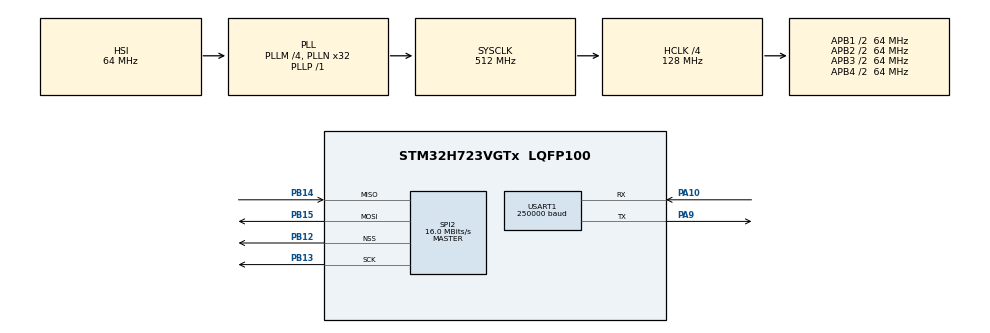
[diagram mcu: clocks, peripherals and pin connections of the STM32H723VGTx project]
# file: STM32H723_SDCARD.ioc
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CORTEX_M7.default_mode_Activation=1
Mcu.Family=STM32H7
Mcu.Name=STM32H723VGTx
Mcu.Package=LQFP100
NVIC.PriorityGroup=NVIC_PRIORITYGROUP_4
PA10.Mode=Asynchronous
PA10.Signal=USART1_RX
PA9.Mode=Asynchronous
PA9.Signal=USART1_TX
PB12.GPIO_Speed=GPIO_SPEED_FREQ_LOW
PB12.Mode=NSS_Signal_Hard_Output
PB12.Signal=SPI2_NSS
PB13.GPIO_Mode=GPIO_MODE_AF_PP
PB13.GPIO_PuPd=GPIO_NOPULL
PB13.GPIO_Speed=GPIO_SPEED_FREQ_LOW
PB13.Mode=Full_Duplex_Master
PB13.Signal=SPI2_SCK
PB14.GPIO_Mode=GPIO_MODE_AF_PP
PB14.GPIO_PuPd=GPIO_NOPULL
PB14.GPIO_Speed=GPIO_SPEED_FREQ_LOW
PB14.Mode=Full_Duplex_Master
PB14.Signal=SPI2_MISO
PB15.GPIO_Mode=GPIO_MODE_AF_PP
PB15.GPIO_PuPd=GPIO_NOPULL
PB15.GPIO_Speed=GPIO_SPEED_FREQ_LOW
PB15.Mode=Full_Duplex_Master
PB15.Signal=SPI2_MOSI
ProjectManager.HeapSize=0x200
ProjectManager.StackSize=0x400
ProjectManager.TargetToolchain=STM32CubeIDE
RCC.ADCFreq_Value=129000000
RCC.APB1Freq_Value=64000000
RCC.APB2Freq_Value=64000000
RCC.APB3Freq_Value=64000000
RCC.APB4Freq_Value=64000000
RCC.CortexFreq_Value=512000000
RCC.D1PPRE=RCC_APB3_DIV2
RCC.D2PPRE1=RCC_APB1_DIV2
RCC.D2PPRE2=RCC_APB2_DIV2
RCC.D3PPRE=RCC_APB4_DIV2
RCC.DIVM1=4
RCC.DIVN1=32
RCC.DIVP1=1
RCC.DIVQ1=3
RCC.HCLKFreq_Value=128000000
RCC.HPRE=RCC_HCLK_DIV4
RCC.PLL2FRACN=0
RCC.PLL3FRACN=0
RCC.PLLFRACN=0
RCC.SPI123CLockSelection=RCC_SPI123CLKSOURCE_CLKP
RCC.SYSCLKFreq_VALUE=512000000
RCC.SYSCLKSource=RCC_SYSCLKSOURCE_PLLCLK
RCC.USBFreq_Value=170666666.66666666
SPI2.BaudRatePrescaler=SPI_BAUDRATEPRESCALER_4
SPI2.CalculateBaudRate=16.0 MBits/s
SPI2.DataSize=SPI_DATASIZE_8BIT
SPI2.Direction=SPI_DIRECTION_2LINES
SPI2.Mode=SPI_MODE_MASTER
SPI2.VirtualNSS=VM_NSSHARD
SPI2.VirtualType=VM_MASTER
USART1.BaudRate=250000
USART1.VirtualMode-Asynchronous=VM_ASYNC
VP_FATFS_VS_Generic.Mode=User_defined
VP_MEMORYMAP_VS_MEMORYMAP.Mode=CurAppReg
board=custom

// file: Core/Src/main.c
/* USER CODE BEGIN Header */
/**
  ******************************************************************************
  * @file           : main.c
  * @brief          : Main program body
  ******************************************************************************
  * @attention
  *
  * Copyright (c) 2026 STMicroelectronics.
  * All rights reserved.
  *
  * This software is licensed under terms that can be found in the LICENSE file
  * in the root directory of this software component.
  * If no LICENSE file comes with this software, it is provided AS-IS.
  *
  ******************************************************************************
  */

/*******************************************************************************************************
* IRON 2026 smart SD card bootloader for Mellow Fly D8 Pro V1.1 3D printer motherboard (STM32H723VGT6) *
********************************************************************************************************
* SD card interfacing based on Simplified Spec Physical Layer V9.10 (December 1st 2023)                *
*******************************************************************************************************/

/* USER CODE END Header */
#include "main.h"
#include "fatfs.h"

/* USER CODE BEGIN Includes */

#include <stdarg.h> // For uart_printf
#include <string.h> // For memset

/* USER CODE END Includes */

/* USER CODE BEGIN PD */

#define DEBUG_USART_HANDLE       huart1                                 // The UART to send debug info to
#define VERBOSE_MODE                                                    // Comment out to disable sending info to USART (250K baud)
#define COMPARE_BEFORE_FLASH                                            // Comment out to not compare the firmware file to the flash contents (faster)
#define FIRMWARE_FILENAME        "firmware.bin"                         // The firmware file to flash
#define FIRMWARE_RENAME          "firmware.cur"                         // Rename the firmware after flashing

// Make sure pins don't interfere with SWD debug pins PA13 and PA14, disable when debugging
#define PROGRESS_LED_PIN         GPIO_PIN_14                            // Progress LED pin, flashes during flash update
#define PROGRESS_LED_PORT        GPIOA                                  // Progress LED port

#define SD_DETECT_PIN            GPIO_PIN_13                            // SD card detect pin, pin PE13
#define SD_DETECT_PORT           GPIOE                                  // SD card detect port, pin PE13
#define SD_INIT_DELAY            350U                                   // Delay to allow the SD card to settle

#define DFU_ON_DOUBLE_RESET                                             // Double reset start DFU mode, comment out to disable
#define DFU_MAGIC_KEY            0xBA5EBA11                             // Magic key to jump to DFU mode
#define DFU_MAGIC_KEY_ADDRESS    RTC->BKP31R                            // Store the magic key at RTC backup register 31

#define FLASHWORD                (FLASH_NB_32BITWORD_IN_FLASHWORD * 4U) // 32 bytes on STM32H7
#define FILE_BUFFER_SIZE         4096UL                                 // Must be divisible by FLASHWORD
#define FLASH_MAX_SECTOR         8U                                     // Max 8 sectors on STM32H7xx (0-7) 128KB each

#define FLASH_BOOTLOADER_SIZE    0x00020000U                            // Bootloader area size (1 sector)
#define FLASH_USER_START_SECTOR  1U                                     // Bootloader in sector 0
#define FLASH_USER_START_ADDR    (FLASH_BASE + FLASH_BOOTLOADER_SIZE)   // Should start on a new sector

/* STM32 DFU bootloader addresses
   STM32C0   0x1FFF0000 | STM32F030x8 0x1FFFEC00 | STM32F030xC 0x1FFFD800 | STM32F03xx 0x1FFFEC00
   STM32F05  0x1FFFEC00 | STM32F07    0x1FFFC800 | STM32F09    0x1FFFD800 | STM32F10xx 0x1FFFF000
   STM32F105 0x1FFFB000 | STM32F107   0x1FFFB000 | STM32F10XL  0x1FFFE000 | STM32F2    0x1FFF0000
   STM32F3   0x1FFFD800 | STM32F4     0x1FFF0000 | STM32F7     0x1FF00000 | STM32G0    0x1FFF0000
   STM32G4   0x1FFF0000 | STM32H503   0x0BF87000 | STM32H563   0x0BF97000 | STM32H573  0x0BF97000
   STM32H7x  0x1FF09800 | STM32H7A    0x1FF0A800 | STM32H7B    0x1FF0A000 | STM32L0    0x1FF00000
   STM32L1   0x1FF00000 | STM32L4     0x1FFF0000 | STM32L5     0x0BF90000 | STM32WBA   0x0BF88000
   STM32WBX  0x1FFF0000 | STM32WL     0x1FFF0000 | STM32U5     0x0BF90000 */

#define DFU_BOOTLOADER_ADDRESS   0x1FF09800U // STM32H7xx address to start the DFU bootloader

/* FATFS ERROR CODES
 0 Succeeded
 1 A hard error occurred in the low level disk I/O layer
 2 Assertion failed
 3 The physical drive cannot work
 4 Could not find the file
 5 Could not find the path
 6 The path name format is invalid
 7 Access denied due to prohibited access or directory full
 8 Access denied due to prohibited access
 9 The file/directory object is invalid
10 The physical drive is write protected
11 The logical drive number is invalid
12 The volume has no work area
13 There is no valid FAT volume
14 The f_mkfs() aborted due to any problem
15 Could not get a grant to access the volume within defined period
16 The operation is rejected according to the file sharing policy
17 LFN working buffer could not be allocated
18 Number of open files > _FS_LOCK
19 Given parameter is invalid */

/* USER CODE END PD */

SPI_HandleTypeDef hspi2;

UART_HandleTypeDef huart1;

/* USER CODE BEGIN PV */

FATFS    FatFs;                        // FAT File System handle
FIL      fwFile;                       // File handle for the firmware file
FRESULT  result;                       // File operation result
uint32_t fileSize;                     // Firmware file size in bytes
uint8_t  fileBuffer[FILE_BUFFER_SIZE] __attribute__((aligned(32))); // File read buffer

/* USER CODE END PV */

void SystemClock_Config(void);
void PeriphCommonClock_Config(void);
static void MPU_Config(void);
static void MX_GPIO_Init(void);
static void MX_SPI2_Init(void);
static void MX_USART1_UART_Init(void);

/* USER CODE BEGIN 0 */

// Calculate CRC32 of a block of data
#define CRC32_START 0xFFFFFFFF  // Start value for the CRC32 calculation
uint32_t crc32b(uint32_t crc, uint8_t *data, uint32_t size)
{
    for (int i = 0; i < size; i++)
    {
        crc = crc ^ data[i];
        for (int j = 8; j; j--)
            crc = (crc >> 1) ^ (0xEDB88320 & -(crc & 1));
    }
    return ~crc;
}

#ifdef VERBOSE_MODE // No serial output if not in VERBOSE_MODE

    // Lightweight printf, prints to uart (DEBUG_USART_HANDLE), no floats
    void uart_printf(const char * fmt, ...)
    {
        va_list va;
        va_start(va, fmt);
        char debug_msg[255]; // Message buffer
        char * buf = debug_msg;
        char c;
        unsigned int num;
        while ((c = *(fmt++)))
        {
            if (c == '%')
            {
                int width = 0;
                int base = 2;
                int s_int = 0;
                char space_zero = ' ';
            MORE_FORMAT:
                c = *(fmt++); // Skip '%', check parameter
                switch (c)
                {
                    case '0':
                      if (width == 0)
                          space_zero = '0';
                    case '1'...'9': // Width indicators
                        width = (width * 10) + c - '0';
                    goto MORE_FORMAT;

                    case '%': // "%%" prints "%"
                        *(buf++) = '%';
                    break;

                    case 'c': // Character
                        *(buf++) = va_arg(va, int);
                    break;

                    case 'd': // Signed integer, base 10
                    case 'i': base = 10;
                        s_int = va_arg(va, int);
                        if (s_int < 0)
                               num = -s_int;
                        else
                              num = s_int;
                        goto ATOI;
                    case 'x':
                    case 'X':      // Hexadecimal, base 16
                        base += 6; // 2 + 6 + 8 is base 16
                    case 'u':      // Unsigned integer, base 10
                        base += 8; // 2 + 8 is base 10
                    case 'b':      // Binary, base 2
                        num = va_arg(va, unsigned int);
                    ATOI:
                        char tmp[32]; // 32bit
                        char *q = tmp;

                        do
                        {
                            int rem = '0' + (num % base);
                            if (rem > '9')
                                  rem += 7; // Map to 'ABCDEF'
                               *(q++) = rem;
                        } while ((num /= base));

                        if (s_int < 0)
                              *(q++) = '-';

                        width -= q - tmp;
                        while (width-- > 0)
                              *(buf++) = space_zero;

                           while (tmp < q) // Reverse data order, "123" --> "321"
                           *(buf++) = *(--q);
                    break;

                    case 's':  // String
                    {
                        const char *p = va_arg(va, const char *);
                        while (*p)
                            *(buf++) = *(p++);
                    }
                }
            }
            else
                *(buf++) = c; // Copy literal characters
        }
        *buf = '\0'; // Terminate string

        va_end(va);

        HAL_UART_Transmit(&DEBUG_USART_HANDLE, (uint8_t *)debug_msg, buf - debug_msg, HAL_MAX_DELAY);

        #ifdef PROGRESS_LED_PIN
            HAL_GPIO_TogglePin(PROGRESS_LED_PORT, PROGRESS_LED_PIN); // Flash LED
        #endif

    }

#else

    #ifdef PROGRESS_LED_PIN
        void uart_printf(const char * fmt, ...) { HAL_GPIO_TogglePin(PROGRESS_LED_PORT, PROGRESS_LED_PIN); } // Flash LED
    #else
        void uart_printf(const char * fmt, ...) { }
    #endif

#endif

#ifdef DFU_ON_DOUBLE_RESET

    #define set_magic_key(a) *(__IO uint32_t *)DFU_MAGIC_KEY_ADDRESS = a; \
                             *(__IO uint32_t *)DFU_MAGIC_KEY_ADDRESS = a

#else

    #define set_magic_key(a)

#endif

// Return value: 0=equal, 1=different, 2=error
uint32_t compareFlashToFile(void)
{
    uint32_t i = 0, j;
    uint32_t file_crc32 = ~CRC32_START; // Invert here, will be undone in crc32b
    int difference_found = 0;
    int different = 0;
    unsigned int bytesRead;
    int result = f_lseek(&fwFile, 0); // Not strictly needed
    while ((i < fileSize) && !result)
    {
        result = f_read(&fwFile, fileBuffer, FILE_BUFFER_SIZE, &bytesRead);
        file_crc32 = crc32b(~file_crc32, fileBuffer, bytesRead);
        j = 0;
        while ((j < bytesRead) && !result)
        {
            if (*(__IO char*)(FLASH_USER_START_ADDR + i + j) != fileBuffer[j])
                difference_found = 1;
            j++;
        }

        if (difference_found)
        {
            uart_printf("*");
            different = 1;
            difference_found = 0; // Reset block different status
        }
        else
            uart_printf("=");

        i += bytesRead;
    }

    if (result)
    {
        uart_printf(" Error\r\nFile read error: %d\r\n", result);
        return 2;
    }
    else
    if (different)
        uart_printf(" Different\r\nFlash contents differs, update is required\r\n");
    else
    {
        uart_printf(" Equal\r\nFlash contents is the same, update is not required\r\n");
        uart_printf("Flash CRC32: 0x%x\r\n", file_crc32);
    }

    return different; // 0=equal, 1=different, 2=file read error
}

int CopyFileToFlashMemory(void)
{

// STM32H7xx FLASH SECTORS 0-7 all are 128 KBytes (FLASH_SECTOR_SIZE)

    // Erase required sectors to fit the user application
    uint32_t erasedSize = 0;
    uint32_t sector = FLASH_USER_START_SECTOR;

    HAL_FLASH_Unlock();
    FRESULT result = f_lseek(&fwFile, 0);
    while ((erasedSize < fileSize) && !result)
    {
        uart_printf("Erasing 128KB flash sector %u\r\n", sector);

        FLASH_Erase_Sector(sector, FLASH_BANK_1, FLASH_VOLTAGE_RANGE_3);

        erasedSize += FLASH_SECTOR_SIZE;
        sector++;
    }

    uart_printf("Flashing user application to 0x0%x\r\n", FLASH_USER_START_ADDR);

    uint32_t byteCounter = 0;
    uint32_t i;
    uint32_t file_crc32 = ~CRC32_START; // Invert here, will be undone in crc32b
    unsigned int bytesRead;

    while ((byteCounter < fileSize) && !result)
    {
        result = f_read(&fwFile, fileBuffer, FILE_BUFFER_SIZE, &bytesRead);
        file_crc32 = crc32b(~file_crc32, fileBuffer, bytesRead);

        if (bytesRead < FILE_BUFFER_SIZE) // Add some "erased flash" bytes to the buffer
            memset(fileBuffer + bytesRead, 0xFF, (FILE_BUFFER_SIZE - bytesRead) % FLASHWORD);

        // Write the data to flash memory
        i = 0;
        while ((i < bytesRead) && !result)
        {
            result = HAL_FLASH_Program(FLASH_TYPEPROGRAM_FLASHWORD, FLASH_USER_START_ADDR + byteCounter + i, (uint32_t)(fileBuffer + i));
            i += FLASHWORD;
        }
        byteCounter += bytesRead;
        uart_printf("=");
    }

    HAL_FLASH_Lock();

    if (!result) // All went OK, verify flash contents
    {
        uint32_t flash_crc32 = crc32b(CRC32_START, (uint8_t*)FLASH_USER_START_ADDR, fileSize);

        if (file_crc32 != flash_crc32)
        {
            uart_printf("* Verify failed\r\n");
            result = 1; // Signal error
        }
        else
            uart_printf(" Verify OK\r\n");

        uart_printf("Flash CRC32: 0x%x\r\n", flash_crc32);
    }
    else
        uart_printf(" Failed: %u\r\n", result);

    return result;
}

/* USER CODE END 0 */

int main(void)
{

  /* MPU Configuration--------------------------------------------------------*/
  MPU_Config();

  /* MCU Configuration--------------------------------------------------------*/

  /* Reset of all peripherals, Initializes the Flash interface and the Systick. */
  HAL_Init();

  /* USER CODE BEGIN Init */

#ifdef DFU_ON_DOUBLE_RESET

    // Initial delay used to debounce reset switch
    HAL_Delay(25);

    // Detect magic key
    if (*(__IO uint32_t*)DFU_MAGIC_KEY_ADDRESS == DFU_MAGIC_KEY)
    {
        set_magic_key(0);
        MX_GPIO_Init();
        MX_USART1_UART_Init();
        uart_printf("\r\nStarting DFU mode\r\n");
        HAL_Delay(25);

        HAL_RCC_DeInit(); // Set the clock to the default state
        HAL_DeInit();

        uint32_t *vtor = (void*)DFU_BOOTLOADER_ADDRESS;
        SCB->VTOR = (uint32_t)vtor;
		__DSB();
		__ISB();

        // Make the jump
        asm volatile("MSR msp,%0\nbx %1" : : "r"(vtor[0]), "r"(vtor[1]));
    }

    set_magic_key(DFU_MAGIC_KEY);

    // Wait for 2nd reset while DFU marker is set
    HAL_Delay(500);

    set_magic_key(0);

#endif

  /* USER CODE END Init */

  /* Configure the system clock */
  SystemClock_Config();

  /* Configure the peripherals common clocks */
  PeriphCommonClock_Config();

  /* Initialize all configured peripherals */
  MX_GPIO_Init();
  MX_SPI2_Init();
  MX_USART1_UART_Init();
  MX_FATFS_Init();
  /* USER CODE BEGIN 2 */

  // Enable all the GPIO clocks for the configurable pins below
  // GPIOA and GPIOB are enabled above in MX_GPIO_INIT
  __HAL_RCC_GPIOC_CLK_ENABLE();
  __HAL_RCC_GPIOD_CLK_ENABLE();
  __HAL_RCC_GPIOE_CLK_ENABLE();

  uart_printf("\r\nSD card bootloader started\r\n");

GPIO_InitTypeDef GPIO_InitStruct = { 0 };
#ifdef PROGRESS_LED_PIN
    GPIO_InitStruct.Pin = PROGRESS_LED_PIN;
    GPIO_InitStruct.Mode = GPIO_MODE_OUTPUT_PP;
    GPIO_InitStruct.Pull = GPIO_NOPULL;
    GPIO_InitStruct.Speed = GPIO_SPEED_FREQ_LOW;
    HAL_GPIO_Init(PROGRESS_LED_PORT, &GPIO_InitStruct);
#endif

#ifdef SD_DETECT_PIN
    GPIO_InitStruct.Pin = SD_DETECT_PIN;
    GPIO_InitStruct.Mode = GPIO_MODE_INPUT;
    GPIO_InitStruct.Pull = GPIO_PULLUP;
    GPIO_InitStruct.Speed = GPIO_SPEED_FREQ_LOW;
    HAL_GPIO_Init(SD_DETECT_PORT, &GPIO_InitStruct);
#endif

#ifdef SD_DETECT_PIN
    // Detect SD card, high pin means no SD card present
    if (HAL_GPIO_ReadPin(SD_DETECT_PORT, SD_DETECT_PIN))
    {
        uart_printf("\r\nNo SD card detected\r\n");
        goto USER_APP;
    }
    uart_printf("\r\nSD card detected, mounting FAT file system\r\n");
#endif

    HAL_Delay(SD_INIT_DELAY); // Short delay to let the SD card settle

    // Mount the FAT file system
    result = f_mount(&FatFs, "", 1);
    if (result)
    {
        #ifdef SD_DETECT_PIN
            uart_printf("ERROR: Card mounting failed, not FAT/exFAT formatted? Error: %d\r\n", result);
        #else
            uart_printf("No medium mounted, status: %d\r\n", result);
        #endif

        goto USER_APP;
    }

    uart_printf(FIRMWARE_FILENAME);
    if (f_open(&fwFile, FIRMWARE_FILENAME, FA_READ))
    {
        uart_printf(" not found\r\n");
        goto USER_APP;
    }
    uart_printf(" opened successfully\r\n");

    fileSize = f_size(&fwFile);
    if (!fileSize)
    {
        uart_printf("ERROR: %s has 0 size, aborting\r\n", FIRMWARE_FILENAME);
        f_close(&fwFile); // Not strictly needed
        goto USER_APP;
    }

    // Get device flash size from memory (in KBytes)
    __IO uint16_t flashSize = *(uint32_t*)(FLASHSIZE_BASE);
    uart_printf("Total flash memory size: %uKB\r\n", flashSize);

    uint32_t freeFlash = (flashSize << 10) - FLASH_BOOTLOADER_SIZE;
    uart_printf("Free flash space: %dKB\r\n", freeFlash >> 10);

    uart_printf("Firmware file size: %uKB\r\n", fileSize >> 10);

    if (fileSize > freeFlash)
    {
        uart_printf("ERROR: Insufficient free flash space, aborting\r\n");
        f_close(&fwFile); // Not strictly needed, comment out to save some flash
        goto USER_APP;
    }

    #ifdef COMPARE_BEFORE_FLASH

        uart_printf("Comparing file to flash contents\r\n");

        result = compareFlashToFile();

        if (result > 1) // File read error
            goto USER_APP;

        if (result == 1) // Flash is different, update required
            result = CopyFileToFlashMemory();

    #else

        result = CopyFileToFlashMemory();

    #endif

    f_close(&fwFile); // Must close file before renaming

    #ifdef FIRMWARE_RENAME
        if (!result) // Only rename/delete if file was flashed successfully
        {
            f_unlink(FIRMWARE_RENAME); // Delete the old firmware (if present)

            if (f_rename(FIRMWARE_FILENAME, FIRMWARE_RENAME) != FR_OK)
            {
                uart_printf("ERROR: Failed to rename firmware file to ");
                result = 1; // Signal error
            }
            else
                uart_printf("Renaming file to ");

            uart_printf("%s\r\n", FIRMWARE_RENAME);
        }

    #endif

USER_APP:

    f_mount(NULL, "", 0); // Unmount SDCARD, not strictly needed

    if (*(__IO uint32_t*)FLASH_USER_START_ADDR != 0xFFFFFFFF) // Check if flash is empty
    {
        uart_printf("Starting user application at 0x0%x\r\n", FLASH_USER_START_ADDR);
        HAL_Delay(25);

        uint32_t *vtor = (void*)FLASH_USER_START_ADDR;
        SCB->VTOR = (uint32_t)vtor;
		__DSB();
		__ISB();

        // Make the jump
        asm volatile("MSR msp,%0\nbx %1" : : "r"(vtor[0]), "r"(vtor[1]));
    }

    uart_printf("No user application found at 0x0%x, done!\r\n", FLASH_USER_START_ADDR);

    while (1)
    { // Start slow LED flash
        #ifdef PROGRESS_LED_PIN
            HAL_GPIO_TogglePin(PROGRESS_LED_PORT, PROGRESS_LED_PIN);
            HAL_Delay(1500);
        #endif
    };

  /* USER CODE END 2 */

  /* Infinite loop */
  while (1)
  {

  }
}

void SystemClock_Config(void)
{
  RCC_OscInitTypeDef RCC_OscInitStruct = {0};
  RCC_ClkInitTypeDef RCC_ClkInitStruct = {0};

  /** Supply configuration update enable
  */
  HAL_PWREx_ConfigSupply(PWR_LDO_SUPPLY);

  /** Configure the main internal regulator output voltage
  */
  __HAL_PWR_VOLTAGESCALING_CONFIG(PWR_REGULATOR_VOLTAGE_SCALE2);

  while(!__HAL_PWR_GET_FLAG(PWR_FLAG_VOSRDY)) {}

  /** Initializes the RCC Oscillators according to the specified parameters
  * in the RCC_OscInitTypeDef structure.
  */
  RCC_OscInitStruct.OscillatorType = RCC_OSCILLATORTYPE_HSI;
  RCC_OscInitStruct.HSIState = RCC_HSI_DIV1;
  RCC_OscInitStruct.HSICalibrationValue = 64;
  RCC_OscInitStruct.PLL.PLLState = RCC_PLL_ON;
  RCC_OscInitStruct.PLL.PLLSource = RCC_PLLSOURCE_HSI;
  RCC_OscInitStruct.PLL.PLLM = 4;
  RCC_OscInitStruct.PLL.PLLN = 32;
  RCC_OscInitStruct.PLL.PLLP = 1;
  RCC_OscInitStruct.PLL.PLLQ = 3;
  RCC_OscInitStruct.PLL.PLLR = 2;
  RCC_OscInitStruct.PLL.PLLRGE = RCC_PLL1VCIRANGE_3;
  RCC_OscInitStruct.PLL.PLLVCOSEL = RCC_PLL1VCOWIDE;
  RCC_OscInitStruct.PLL.PLLFRACN = 0;
  if (HAL_RCC_OscConfig(&RCC_OscInitStruct) != HAL_OK)
  {
    Error_Handler();
  }

  /** Initializes the CPU, AHB and APB buses clocks
  */
  RCC_ClkInitStruct.ClockType = RCC_CLOCKTYPE_HCLK|RCC_CLOCKTYPE_SYSCLK
                              |RCC_CLOCKTYPE_PCLK1|RCC_CLOCKTYPE_PCLK2
                              |RCC_CLOCKTYPE_D3PCLK1|RCC_CLOCKTYPE_D1PCLK1;
  RCC_ClkInitStruct.SYSCLKSource = RCC_SYSCLKSOURCE_PLLCLK;
  RCC_ClkInitStruct.SYSCLKDivider = RCC_SYSCLK_DIV1;
  RCC_ClkInitStruct.AHBCLKDivider = RCC_HCLK_DIV4;
  RCC_ClkInitStruct.APB3CLKDivider = RCC_APB3_DIV2;
  RCC_ClkInitStruct.APB1CLKDivider = RCC_APB1_DIV2;
  RCC_ClkInitStruct.APB2CLKDivider = RCC_APB2_DIV2;
  RCC_ClkInitStruct.APB4CLKDivider = RCC_APB4_DIV2;

  if (HAL_RCC_ClockConfig(&RCC_ClkInitStruct, FLASH_LATENCY_2) != HAL_OK)
  {
    Error_Handler();
  }
}

void PeriphCommonClock_Config(void)
{
  RCC_PeriphCLKInitTypeDef PeriphClkInitStruct = {0};

  /** Initializes the peripherals clock
  */
  PeriphClkInitStruct.PeriphClockSelection = RCC_PERIPHCLK_CKPER;
  PeriphClkInitStruct.CkperClockSelection = RCC_CLKPSOURCE_HSI;
  if (HAL_RCCEx_PeriphCLKConfig(&PeriphClkInitStruct) != HAL_OK)
  {
    Error_Handler();
  }
}

static void MX_SPI2_Init(void)
{

  /* SPI2 parameter configuration*/
  hspi2.Instance = SPI2;
  hspi2.Init.Mode = SPI_MODE_MASTER;
  hspi2.Init.Direction = SPI_DIRECTION_2LINES;
  hspi2.Init.DataSize = SPI_DATASIZE_8BIT;
  hspi2.Init.CLKPolarity = SPI_POLARITY_LOW;
  hspi2.Init.CLKPhase = SPI_PHASE_1EDGE;
  hspi2.Init.NSS = SPI_NSS_HARD_OUTPUT;
  hspi2.Init.BaudRatePrescaler = SPI_BAUDRATEPRESCALER_4;
  hspi2.Init.FirstBit = SPI_FIRSTBIT_MSB;
  hspi2.Init.TIMode = SPI_TIMODE_DISABLE;
  hspi2.Init.CRCCalculation = SPI_CRCCALCULATION_DISABLE;
  hspi2.Init.CRCPolynomial = 0x0;
  hspi2.Init.NSSPMode = SPI_NSS_PULSE_ENABLE;
  hspi2.Init.NSSPolarity = SPI_NSS_POLARITY_LOW;
  hspi2.Init.FifoThreshold = SPI_FIFO_THRESHOLD_01DATA;
  hspi2.Init.TxCRCInitializationPattern = SPI_CRC_INITIALIZATION_ALL_ZERO_PATTERN;
  hspi2.Init.RxCRCInitializationPattern = SPI_CRC_INITIALIZATION_ALL_ZERO_PATTERN;
  hspi2.Init.MasterSSIdleness = SPI_MASTER_SS_IDLENESS_00CYCLE;
  hspi2.Init.MasterInterDataIdleness = SPI_MASTER_INTERDATA_IDLENESS_00CYCLE;
  hspi2.Init.MasterReceiverAutoSusp = SPI_MASTER_RX_AUTOSUSP_DISABLE;
  hspi2.Init.MasterKeepIOState = SPI_MASTER_KEEP_IO_STATE_DISABLE;
  hspi2.Init.IOSwap = SPI_IO_SWAP_DISABLE;
  if (HAL_SPI_Init(&hspi2) != HAL_OK)
  {
    Error_Handler();
  }

}

static void MX_USART1_UART_Init(void)
{

  huart1.Instance = USART1;
  huart1.Init.BaudRate = 250000;
  huart1.Init.WordLength = UART_WORDLENGTH_8B;
  huart1.Init.StopBits = UART_STOPBITS_1;
  huart1.Init.Parity = UART_PARITY_NONE;
  huart1.Init.Mode = UART_MODE_TX_RX;
  huart1.Init.HwFlowCtl = UART_HWCONTROL_NONE;
  huart1.Init.OverSampling = UART_OVERSAMPLING_16;
  huart1.Init.OneBitSampling = UART_ONE_BIT_SAMPLE_DISABLE;
  huart1.Init.ClockPrescaler = UART_PRESCALER_DIV1;
  huart1.AdvancedInit.AdvFeatureInit = UART_ADVFEATURE_NO_INIT;
  if (HAL_UART_Init(&huart1) != HAL_OK)
  {
    Error_Handler();
  }
  if (HAL_UARTEx_SetTxFifoThreshold(&huart1, UART_TXFIFO_THRESHOLD_1_8) != HAL_OK)
  {
    Error_Handler();
  }
  if (HAL_UARTEx_SetRxFifoThreshold(&huart1, UART_RXFIFO_THRESHOLD_1_8) != HAL_OK)
  {
    Error_Handler();
  }
  if (HAL_UARTEx_DisableFifoMode(&huart1) != HAL_OK)
  {
    Error_Handler();
  }

}

static void MX_GPIO_Init(void)
{

  /* GPIO Ports Clock Enable */
  __HAL_RCC_GPIOB_CLK_ENABLE();
  __HAL_RCC_GPIOA_CLK_ENABLE();

}

 /* MPU Configuration */

void MPU_Config(void)
{
  MPU_Region_InitTypeDef MPU_InitStruct = {0};

  /* Disables the MPU */
  HAL_MPU_Disable();

  /** Initializes and configures the Region and the memory to be protected
  */
  MPU_InitStruct.Enable = MPU_REGION_ENABLE;
  MPU_InitStruct.Number = MPU_REGION_NUMBER0;
  MPU_InitStruct.BaseAddress = 0x0;
  MPU_InitStruct.Size = MPU_REGION_SIZE_4GB;
  MPU_InitStruct.SubRegionDisable = 0x87;
  MPU_InitStruct.TypeExtField = MPU_TEX_LEVEL0;
  MPU_InitStruct.AccessPermission = MPU_REGION_NO_ACCESS;
  MPU_InitStruct.DisableExec = MPU_INSTRUCTION_ACCESS_DISABLE;
  MPU_InitStruct.IsShareable = MPU_ACCESS_SHAREABLE;
  MPU_InitStruct.IsCacheable = MPU_ACCESS_NOT_CACHEABLE;
  MPU_InitStruct.IsBufferable = MPU_ACCESS_NOT_BUFFERABLE;

  HAL_MPU_ConfigRegion(&MPU_InitStruct);
  /* Enables the MPU */
  HAL_MPU_Enable(MPU_PRIVILEGED_DEFAULT);

}

void Error_Handler(void)
{
  __disable_irq();
  while (1)
  {
  }
}
